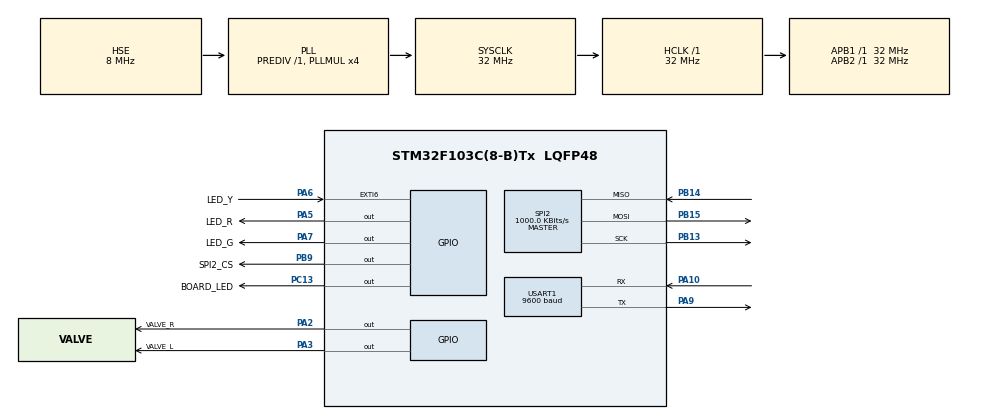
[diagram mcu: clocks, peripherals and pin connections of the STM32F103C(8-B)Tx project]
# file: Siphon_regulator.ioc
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Dma.Request0=USART1_RX
Dma.USART1_RX.0.Direction=DMA_PERIPH_TO_MEMORY
Dma.USART1_RX.0.Instance=DMA1_Channel5
Dma.USART1_RX.0.MemDataAlignment=DMA_MDATAALIGN_BYTE
Dma.USART1_RX.0.MemInc=DMA_MINC_ENABLE
Dma.USART1_RX.0.Mode=DMA_CIRCULAR
Dma.USART1_RX.0.PeriphDataAlignment=DMA_PDATAALIGN_BYTE
Dma.USART1_RX.0.PeriphInc=DMA_PINC_DISABLE
Dma.USART1_RX.0.Priority=DMA_PRIORITY_LOW
Mcu.Family=STM32F1
Mcu.Name=STM32F103C(8-B)Tx
Mcu.Package=LQFP48
NVIC.DMA1_Channel5_IRQn=true\:0\:0\:false\:false\:true\:false\:true\:true
NVIC.PriorityGroup=NVIC_PRIORITYGROUP_4
PA10.GPIO_PuPd=GPIO_PULLUP
PA10.Mode=Asynchronous
PA10.Signal=USART1_RX
PA2.GPIO_Label=VALVE_R
PA2.Signal=GPIO_Output
PA3.GPIO_Label=VALVE_L
PA3.Signal=GPIO_Output
PA5.GPIO_Label=LED_R
PA5.Signal=GPIO_Output
PA6.GPIO_Label=LED_Y
PA6.Signal=GPXTI6
PA7.GPIO_Label=LED_G
PA7.Signal=GPIO_Output
PA9.Mode=Asynchronous
PA9.Signal=USART1_TX
PB13.Mode=Full_Duplex_Master
PB13.Signal=SPI2_SCK
PB14.Mode=Full_Duplex_Master
PB14.Signal=SPI2_MISO
PB15.Mode=Full_Duplex_Master
PB15.Signal=SPI2_MOSI
PB9.GPIO_Label=SPI2_CS
PB9.Signal=GPIO_Output
PC13-TAMPER-RTC.GPIO_Label=BOARD_LED
PC13-TAMPER-RTC.Signal=GPIO_Output
PD0-OSC_IN.Mode=HSE-External-Oscillator
PD0-OSC_IN.Signal=RCC_OSC_IN
PD1-OSC_OUT.Mode=HSE-External-Oscillator
PD1-OSC_OUT.Signal=RCC_OSC_OUT
ProjectManager.HeapSize=0x200
ProjectManager.StackSize=0x400
ProjectManager.TargetToolchain=STM32CubeIDE
RCC.AHBFreq_Value=32000000
RCC.APB1Freq_Value=32000000
RCC.APB1TimFreq_Value=32000000
RCC.APB2Freq_Value=32000000
RCC.APB2TimFreq_Value=32000000
RCC.HCLKFreq_Value=32000000
RCC.PLLMUL=RCC_PLL_MUL4
RCC.PLLSourceVirtual=RCC_PLLSOURCE_HSE
RCC.SYSCLKFreq_VALUE=32000000
RCC.SYSCLKSource=RCC_SYSCLKSOURCE_PLLCLK
RCC.USBFreq_Value=32000000
SPI2.BaudRatePrescaler=SPI_BAUDRATEPRESCALER_32
SPI2.CalculateBaudRate=1000.0 KBits/s
SPI2.Direction=SPI_DIRECTION_2LINES
SPI2.Mode=SPI_MODE_MASTER
SPI2.VirtualType=VM_MASTER
USART1.BaudRate=9600
USART1.VirtualMode=VM_ASYNC
VP_SYS_VS_ND.Mode=No_Debug
board=custom

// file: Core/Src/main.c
/* USER CODE BEGIN Header */
/**
 ******************************************************************************
 * @file           : main.c
 * @brief          : Main program body
 ******************************************************************************
 * @attention
 *
 * Copyright (c) 2026 STMicroelectronics.
 * All rights reserved.
 *
 * This software is licensed under terms that can be found in the LICENSE file
 * in the root directory of this software component.
 * If no LICENSE file comes with this software, it is provided AS-IS.
 *
 ******************************************************************************
 */
/* USER CODE END Header */
#include "main.h"

/* USER CODE BEGIN Includes */
#include "cmd_processing.h"
#include "driver_mpu9250_basic.h"
#include "loop_fcn.h"
#include "sensor_fcn.h"
#include <stdio.h>
/* USER CODE END Includes */

/* USER CODE BEGIN PD */
/** Size of RX buffer for UART */
#define RX_BUFFER_LEN 64
/** Address of UART RX pointer */
#define uart_rx_write_ptr (RX_BUFFER_LEN - hdma_usart1_rx.Instance->CNDTR)

/* USER CODE END PD */

SPI_HandleTypeDef hspi2;

UART_HandleTypeDef huart1;
DMA_HandleTypeDef hdma_usart1_rx;

/* USER CODE BEGIN PV */
static uint8_t uart_rx_buf[RX_BUFFER_LEN];     ///< Received buffer fo UART
static volatile uint16_t uart_rx_read_ptr = 0; ///< Received read pointer for UART

sensor_data_t measured_data;                   ///< Current sensor measured data.
settings_t    set_data;                        ///< Main system settings.

/* USER CODE END PV */

void SystemClock_Config(void);
static void MX_GPIO_Init(void);
static void MX_DMA_Init(void);
static void MX_USART1_UART_Init(void);
static void MX_SPI2_Init(void);
/* USER CODE BEGIN PFP */

/**
 * @brief Set default values of set_data global variable.
 */
void setting_init(void);

/**
 * @brief Initialize valves. By default close.
 */
void valve_init(void);

/* USER CODE END PFP */

/* USER CODE BEGIN 0 */
int _write(int file, char const *buf, int n)
{
	/* stdout redirection to UART2 */
	HAL_UART_Transmit(&huart1, (uint8_t*)(buf), n, HAL_MAX_DELAY);
	return n;
}

void setting_init(void)
{
	/* Default data */
	set_data.angle  = 90; ///< 90 deg
	set_data.time_a = 10; ///< 10 * 0.1 = 1 sec
	set_data.time_l = 20; ///< 20 * 10 = 200 us
	set_data.time_r = 20; ///< 20 * 10 = 200 us
	set_data.home   =  0; ///< default orientation
}

void valve_init(void)
{
	/* Valves are closed by default */
	HAL_GPIO_WritePin(VALVE_L_GPIO_Port, VALVE_L_Pin, 0);
	HAL_GPIO_WritePin(VALVE_R_GPIO_Port, VALVE_R_Pin, 0);
}
/* USER CODE END 0 */

int main(void)
{

	/* USER CODE BEGIN 1 */
	uint32_t cmd_reg = 0;
	float set_position = 0;
	float gyr_offset[3];

	setting_init();
	valve_init();
	/* USER CODE END 1 */

	/* MCU Configuration--------------------------------------------------------*/

	/* Reset of all peripherals, Initializes the Flash interface and the Systick. */
	HAL_Init();

	/* Configure the system clock */
	SystemClock_Config();

	/* Initialize all configured peripherals */
	MX_GPIO_Init();
	MX_DMA_Init();
	MX_USART1_UART_Init();
	MX_SPI2_Init();
	/* USER CODE BEGIN 2 */
	HAL_UART_Receive_DMA(&huart1, uart_rx_buf, RX_BUFFER_LEN);

	sensor_init(gyr_offset);

	/* USER CODE END 2 */

	/* Infinite loop */
	/* USER CODE BEGIN WHILE */
	while (1)
	{
		while (uart_rx_read_ptr != uart_rx_write_ptr)
		{
			uint8_t b = uart_rx_buf[uart_rx_read_ptr];
			/* increase read pointer */
			if (++uart_rx_read_ptr >= RX_BUFFER_LEN)
			{
				uart_rx_read_ptr = 0;
			}
			/* process every received byte with the RX state machine */
			uart_byte_available(b, &cmd_reg);

		}

		autoread_fcn(cmd_reg);
		valve_fcn(&cmd_reg, &set_position);
		regul_fcn(&cmd_reg, set_position);
		sensor_get_value(gyr_offset);

		/* USER CODE END WHILE */

	}
}

void SystemClock_Config(void)
{
	RCC_OscInitTypeDef RCC_OscInitStruct = {0};
	RCC_ClkInitTypeDef RCC_ClkInitStruct = {0};

	/** Initializes the RCC Oscillators according to the specified parameters
	 * in the RCC_OscInitTypeDef structure.
	 */
	RCC_OscInitStruct.OscillatorType = RCC_OSCILLATORTYPE_HSE;
	RCC_OscInitStruct.HSEState = RCC_HSE_ON;
	RCC_OscInitStruct.HSEPredivValue = RCC_HSE_PREDIV_DIV1;
	RCC_OscInitStruct.HSIState = RCC_HSI_ON;
	RCC_OscInitStruct.PLL.PLLState = RCC_PLL_ON;
	RCC_OscInitStruct.PLL.PLLSource = RCC_PLLSOURCE_HSE;
	RCC_OscInitStruct.PLL.PLLMUL = RCC_PLL_MUL4;
	if (HAL_RCC_OscConfig(&RCC_OscInitStruct) != HAL_OK)
	{
		Error_Handler();
	}

	/** Initializes the CPU, AHB and APB buses clocks
	 */
	RCC_ClkInitStruct.ClockType = RCC_CLOCKTYPE_HCLK|RCC_CLOCKTYPE_SYSCLK
			|RCC_CLOCKTYPE_PCLK1|RCC_CLOCKTYPE_PCLK2;
	RCC_ClkInitStruct.SYSCLKSource = RCC_SYSCLKSOURCE_PLLCLK;
	RCC_ClkInitStruct.AHBCLKDivider = RCC_SYSCLK_DIV1;
	RCC_ClkInitStruct.APB1CLKDivider = RCC_HCLK_DIV1;
	RCC_ClkInitStruct.APB2CLKDivider = RCC_HCLK_DIV1;

	if (HAL_RCC_ClockConfig(&RCC_ClkInitStruct, FLASH_LATENCY_1) != HAL_OK)
	{
		Error_Handler();
	}
}

static void MX_SPI2_Init(void)
{

	/* SPI2 parameter configuration*/
	hspi2.Instance = SPI2;
	hspi2.Init.Mode = SPI_MODE_MASTER;
	hspi2.Init.Direction = SPI_DIRECTION_2LINES;
	hspi2.Init.DataSize = SPI_DATASIZE_8BIT;
	hspi2.Init.CLKPolarity = SPI_POLARITY_LOW;
	hspi2.Init.CLKPhase = SPI_PHASE_1EDGE;
	hspi2.Init.NSS = SPI_NSS_SOFT;
	hspi2.Init.BaudRatePrescaler = SPI_BAUDRATEPRESCALER_32;
	hspi2.Init.FirstBit = SPI_FIRSTBIT_MSB;
	hspi2.Init.TIMode = SPI_TIMODE_DISABLE;
	hspi2.Init.CRCCalculation = SPI_CRCCALCULATION_DISABLE;
	hspi2.Init.CRCPolynomial = 10;
	if (HAL_SPI_Init(&hspi2) != HAL_OK)
	{
		Error_Handler();
	}

}

static void MX_USART1_UART_Init(void)
{

	huart1.Instance = USART1;
	huart1.Init.BaudRate = 9600;
	huart1.Init.WordLength = UART_WORDLENGTH_8B;
	huart1.Init.StopBits = UART_STOPBITS_1;
	huart1.Init.Parity = UART_PARITY_NONE;
	huart1.Init.Mode = UART_MODE_TX_RX;
	huart1.Init.HwFlowCtl = UART_HWCONTROL_NONE;
	huart1.Init.OverSampling = UART_OVERSAMPLING_16;
	if (HAL_UART_Init(&huart1) != HAL_OK)
	{
		Error_Handler();
	}

}

static void MX_DMA_Init(void)
{

	/* DMA controller clock enable */
	__HAL_RCC_DMA1_CLK_ENABLE();

	/* DMA interrupt init */
	/* DMA1_Channel5_IRQn interrupt configuration */
	HAL_NVIC_SetPriority(DMA1_Channel5_IRQn, 0, 0);
	HAL_NVIC_EnableIRQ(DMA1_Channel5_IRQn);

}

static void MX_GPIO_Init(void)
{
	GPIO_InitTypeDef GPIO_InitStruct = {0};

	/* GPIO Ports Clock Enable */
	__HAL_RCC_GPIOC_CLK_ENABLE();
	__HAL_RCC_GPIOD_CLK_ENABLE();
	__HAL_RCC_GPIOA_CLK_ENABLE();
	__HAL_RCC_GPIOB_CLK_ENABLE();

	/*Configure GPIO pin Output Level */
	HAL_GPIO_WritePin(BOARD_LED_GPIO_Port, BOARD_LED_Pin, GPIO_PIN_RESET);

	/*Configure GPIO pin Output Level */
	HAL_GPIO_WritePin(GPIOA, VALVE_R_Pin|VALVE_L_Pin|LED_R_Pin|LED_G_Pin, GPIO_PIN_RESET);

	/*Configure GPIO pin Output Level */
	HAL_GPIO_WritePin(SPI2_CS_GPIO_Port, SPI2_CS_Pin, GPIO_PIN_RESET);

	/*Configure GPIO pin : BOARD_LED_Pin */
	GPIO_InitStruct.Pin = BOARD_LED_Pin;
	GPIO_InitStruct.Mode = GPIO_MODE_OUTPUT_PP;
	GPIO_InitStruct.Pull = GPIO_NOPULL;
	GPIO_InitStruct.Speed = GPIO_SPEED_FREQ_LOW;
	HAL_GPIO_Init(BOARD_LED_GPIO_Port, &GPIO_InitStruct);

	/*Configure GPIO pins : VALVE_R_Pin VALVE_L_Pin LED_R_Pin LED_G_Pin */
	GPIO_InitStruct.Pin = VALVE_R_Pin|VALVE_L_Pin|LED_R_Pin|LED_G_Pin;
	GPIO_InitStruct.Mode = GPIO_MODE_OUTPUT_PP;
	GPIO_InitStruct.Pull = GPIO_NOPULL;
	GPIO_InitStruct.Speed = GPIO_SPEED_FREQ_LOW;
	HAL_GPIO_Init(GPIOA, &GPIO_InitStruct);

	/*Configure GPIO pin : LED_Y_Pin */
	GPIO_InitStruct.Pin = LED_Y_Pin;
	GPIO_InitStruct.Mode = GPIO_MODE_IT_RISING;
	GPIO_InitStruct.Pull = GPIO_NOPULL;
	HAL_GPIO_Init(LED_Y_GPIO_Port, &GPIO_InitStruct);

	/*Configure GPIO pin : SPI2_CS_Pin */
	GPIO_InitStruct.Pin = SPI2_CS_Pin;
	GPIO_InitStruct.Mode = GPIO_MODE_OUTPUT_PP;
	GPIO_InitStruct.Pull = GPIO_NOPULL;
	GPIO_InitStruct.Speed = GPIO_SPEED_FREQ_LOW;
	HAL_GPIO_Init(SPI2_CS_GPIO_Port, &GPIO_InitStruct);

}

void Error_Handler(void)
{
	__disable_irq();
	while (1)
	{
	}
}
